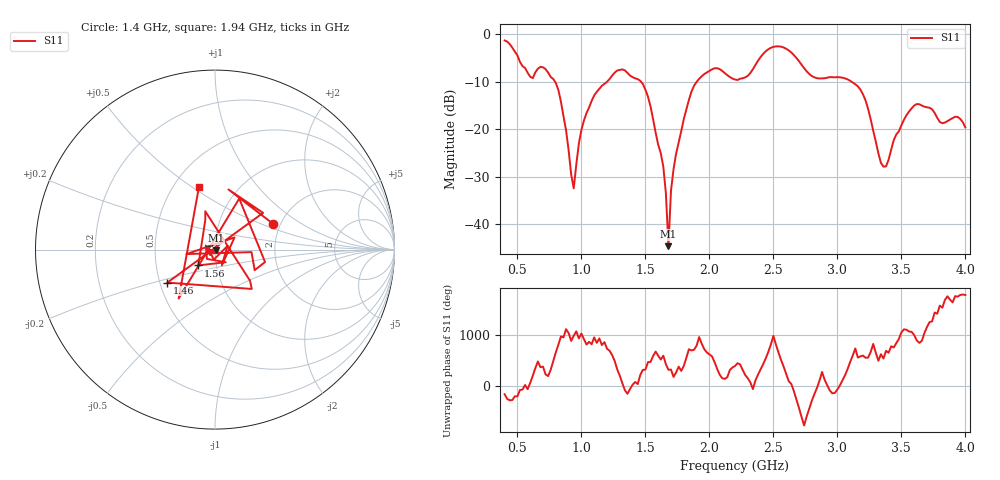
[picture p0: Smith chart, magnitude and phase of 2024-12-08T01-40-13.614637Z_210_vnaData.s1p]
!Created with skrf (http://scikit-rf.org).
# Hz S RI R 50.0
!freq ReS11 ImS11
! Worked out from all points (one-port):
!   181 points, 400 MHz to 4 GHz, reference 50 ohm
!   lowest |S11| = -44.6 dB at 1.68 GHz (marker M1), VSWR 1.01, Z = 50.4 - j0.422 ohm
!   |S11| at or under -10 dB: 794.2 MHz to 1.201 GHz (406.5 MHz wide, 40.8 % of centre); 1.466 GHz to 1.901 GHz (435.4 MHz wide, 25.9 % of centre); 3.111 GHz to end of sweep
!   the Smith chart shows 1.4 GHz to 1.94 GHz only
!   S11 on the Smith chart (normalised r, x): 1.4 GHz: 1.83, +0.60; 1.46 GHz: 0.55, -0.22; 1.56 GHz: 0.82, -0.15; 1.94 GHz: 0.66, +0.53
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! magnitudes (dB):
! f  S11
! 400 MHz  -1.3
! 600 MHz  -9.0
! 680 MHz  -6.9
! 780 MHz  -9.4
! 860 MHz  -17.3
! 940 MHz  -32.4
! 980 MHz  -23.0
! 1.04 GHz  -16.6
! 1.3 GHz  -7.5
! 1.4 GHz  -9.0
! 1.46 GHz  -9.8
! 1.56 GHz  -17.9
! 1.64 GHz  -27.9
! 1.66 GHz  -33.4
! 1.68 GHz  -44.6
! 1.7 GHz  -32.9
! 1.76 GHz  -22.8
! 1.86 GHz  -12.1
! 1.94 GHz  -8.8
! 2.2 GHz  -9.5
! 2.48 GHz  -2.9
! 2.66 GHz  -4.4
! 2.82 GHz  -9.1
! 3.1 GHz  -9.8
! 3.22 GHz  -13.9
! 3.36 GHz  -27.8
! 3.56 GHz  -16.3
! 4 GHz  -19.6
